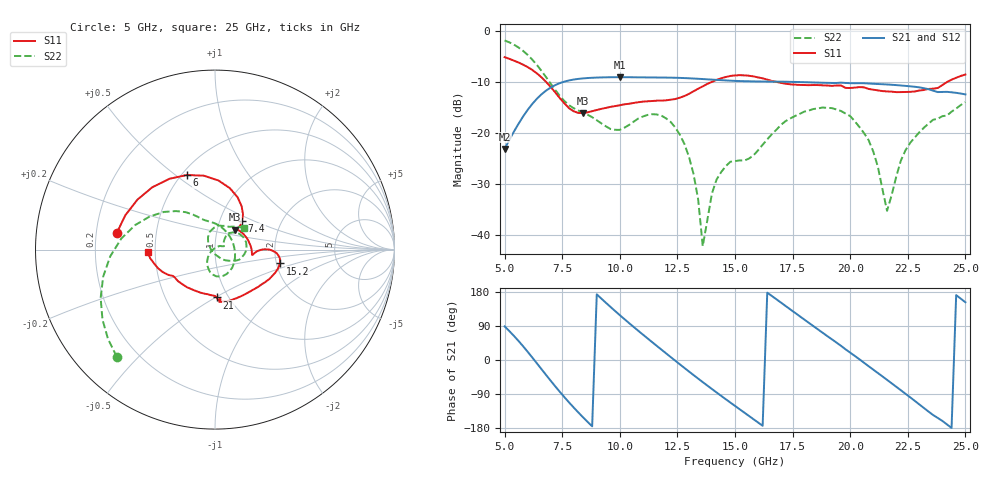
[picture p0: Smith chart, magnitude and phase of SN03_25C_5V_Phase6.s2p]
!File name = SN03_25C_5V_Phase6.s2p
!Date = 2/3/2014
!Time = 2:34 PM
!Test duration(min) = 0.07
!Test = SPars
!MPTS version = 7.120.8
!Comments =
!set_LD1(binary) = 6
!set_LD2(binary) = 524281
!test = SPars
!date_code = 20140203
!file_name = SN03_25C_5V_Phase6.s2p
!VREF(V) = 5.000
!VREF(mA) = 0.003
# GHz  S  DB  R  50
!%	Freq(GHz)  S11(dB)  S11(deg)  S21(dB)  S21(deg)  S12(dB)  S12(deg)  S22(dB)  S22(deg)
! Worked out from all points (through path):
!   101 points, 5 GHz to 25 GHz, reference 50 ohm
!   highest |S21| = -9.04 dB at 10 GHz (marker M1); lowest = -23.1 dB at 5 GHz (marker M2)
!   lowest |S11| = -16.1 dB at 8.4 GHz (marker M3), VSWR 1.37, Z = 60.7 + j13.9 ohm
!   |S11| at or under -10 dB: 6.808 GHz to 13.98 GHz (7.167 GHz wide, 69 % of centre); 16.84 GHz to 24.2 GHz (7.357 GHz wide, 35.9 % of centre)
!   |S22| runs from -42.2 to -1.8 dB; largest |S21 - S12| = 0.0007
!   S11 on the Smith chart (normalised r, x): 5 GHz: 0.29, +0.08; 6 GHz: 0.53, +0.55; 7.4 GHz: 1.28, +0.43; 15.2 GHz: 2.09, -0.37; 21 GHz: 0.88, -0.51; 25 GHz: 0.45, -0.02
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5  -5.11 170.5  -23.10 88.7  -23.11 88.7  -1.83 -132.5
6  -7.05 110.6  -15.45 21.7  -15.46 21.8  -4.66 -176.4
6.6  -9.06 76.4  -12.40 -24.1  -12.41 -24.1  -7.80 153.0
7.4  -13.16 46.6  -10.19 -84.2  -10.21 -84.2  -12.73 122.3
8.4  -16.07 45.1  -9.28 -150.9  -9.28 -151.0  -15.98 101.1
10  -14.54 20.5  -9.04 118.4  -9.04 118.4  -19.37 7.2
11.8  -13.64 -7.7  -9.11 27.7  -9.12 27.8  -16.56 -87.7
13  -12.32 -1.4  -9.25 -30.3  -9.26 -30.3  -24.61 -132.3
13.4  -11.30 0.4  -9.35 -49.1  -9.36 -49.1  -32.97 -156.8
13.6  -10.83 0.3  -9.40 -58.3  -9.41 -58.3  -42.17 152.4
14.2  -9.57 -2.1  -9.56 -85.6  -9.57 -85.6  -29.11 35.8
15  -8.69 -9.4  -9.76 -121.1  -9.77 -121.1  -25.49 20.4
15.2  -8.64 -12.0  -9.79 -129.9  -9.80 -129.9  -25.35 21.2
16.6  -9.78 -36.6  -9.90 168.9  -9.91 168.9  -20.22 51.1
18.4  -10.58 -73.0  -10.07 89.5  -10.08 89.5  -15.28 23.7
20  -11.15 -83.9  -10.21 19.4  -10.21 19.4  -16.66 -22.4
21  -11.48 -87.9  -10.33 -25.3  -10.33 -25.4  -23.59 -54.4
21.6  -11.83 -92.3  -10.46 -52.4  -10.47 -52.5  -35.25 -129.8
21.8  -11.88 -95.2  -10.52 -61.6  -10.53 -61.6  -32.14 171.2
22.6  -11.91 -113.7  -10.82 -98.3  -10.83 -98.4  -21.94 119.2
23.6  -11.29 -145.7  -11.68 -145.3  -11.69 -145.3  -17.38 82.5
25  -8.52 -177.5  -12.41 152.4  -12.42 152.4  -13.92 35.8
